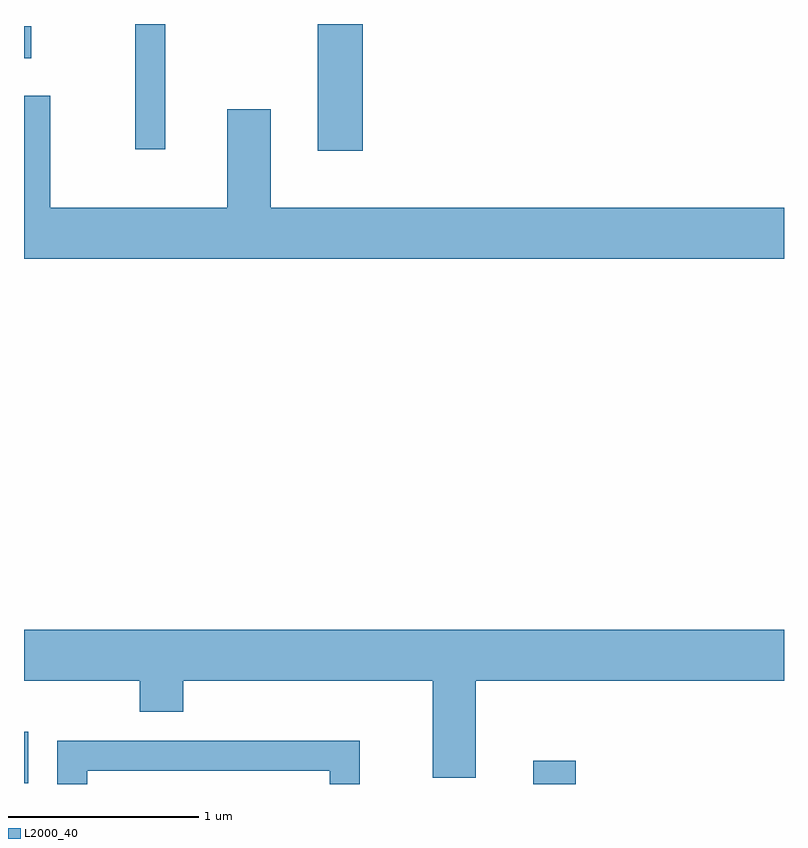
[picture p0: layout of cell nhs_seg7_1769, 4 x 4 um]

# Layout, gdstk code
import gdstk
lib = gdstk.Library(unit=1e-6, precision=1e-09)
def R(c, l, rs):  # rectangles x0, y0, x1, y1
    for r in rs: c.add(gdstk.rectangle(r[:2], r[2:], *l))
def P(c, l, *ps):  # polygons
    for p in ps: c.add(gdstk.Polygon(p, *l))
L2000_40 = (2000, 40)

nhs_seg7_1769 = lib.new_cell('nhs_seg7_1769')
R(nhs_seg7_1769, L2000_40, [(242.291,1678.252,242.514,1678.374), (239.611,1678.256,239.634,1678.528), (241.156,1681.586,241.394,1682.252), (240.196,1681.593,240.354,1682.252), (239.611,1682.071,239.648,1682.239)])
P(nhs_seg7_1769, L2000_40, [(243.611,1681.284),(240.909,1681.284),(240.909,1681.804),(240.681,1681.804),(240.681,1681.284),(239.749,1681.284),(239.749,1681.874),(239.611,1681.874),(239.611,1681.016),(243.611,1681.016)],
  [(241.989,1678.796),(243.611,1678.796),(243.611,1679.064),(239.611,1679.064),(239.611,1678.796),(240.221,1678.796),(240.221,1678.631),(240.449,1678.631),(240.449,1678.796),(241.761,1678.796),(241.761,1678.286),(241.989,1678.286)],
  [(239.944,1678.321),(241.221,1678.321),(241.221,1678.252),(241.379,1678.252),(241.379,1678.479),(239.786,1678.479),(239.786,1678.252),(239.944,1678.252)])

lib.write_gds('nhs_seg7_1769.gds')
